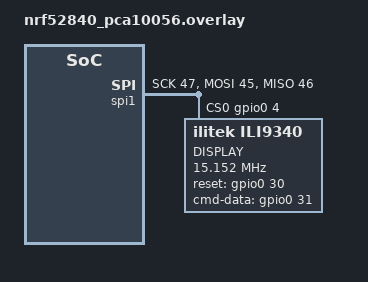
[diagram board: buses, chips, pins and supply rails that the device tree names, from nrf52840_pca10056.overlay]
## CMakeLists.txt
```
# SPDX-License-Identifier: Apache-2.0

cmake_minimum_required(VERSION 3.8.2)

include($ENV{ZEPHYR_BASE}/cmake/app/boilerplate.cmake NO_POLICY_SCOPE)
project(lvgl)

FILE(GLOB app_sources src/*.c)
target_sources(app PRIVATE ${app_sources})
```

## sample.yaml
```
sample:
  description: LVGL sample application
  name: lvgl
tests:
  sample.gui.lvgl:
    harness: display
    platform_whitelist: reel_board mimxrt1050_evk mimxrt1060_evk
    tags: samples display gui
  sample.display.adafruit_2_8_tft_touch_v2:
    platform_whitelist: nrf52840_pca10056
    extra_args: SHIELD=adafruit_2_8_tft_touch_v2
    tags: shield
  sample.display.waveshare_epaper_gdeh0213b1:
    platform_whitelist: nrf52840_pca10056
    extra_args: SHIELD=waveshare_epaper_gdeh0213b1
    tags: shield
  sample.display.waveshare_epaper_gdeh0213b72:
    platform_whitelist: nrf52840_pca10056
    extra_args: SHIELD=waveshare_epaper_gdeh0213b72
    tags: shield
  sample.display.waveshare_epaper_gdeh029a1:
    platform_whitelist: nrf52840_pca10056
    extra_args: SHIELD=waveshare_epaper_gdeh029a1
    tags: shield
```

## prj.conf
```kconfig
CONFIG_HEAP_MEM_POOL_SIZE=16384

CONFIG_DISPLAY=y
CONFIG_DISPLAY_LOG_LEVEL_ERR=y

CONFIG_LOG=y

CONFIG_LVGL=y
CONFIG_LVGL_OBJ_LABEL=y

CONFIG_SYS_TIMEOUT_LEGACY_API=n
```

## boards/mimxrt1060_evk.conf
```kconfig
#
# Copyright (c) 2019, NXP
#
# SPDX-License-Identifier: Apache-2.0
#

CONFIG_LVGL_DISPLAY_DEV_NAME="ELCDIF_1"
CONFIG_LVGL_HOR_RES=480
CONFIG_LVGL_VER_RES=272
CONFIG_LVGL_VDB_SIZE=16
CONFIG_LVGL_DPI=128
CONFIG_LVGL_BITS_PER_PIXEL=0
CONFIG_LVGL_COLOR_DEPTH_16=y

CONFIG_DISPLAY_LOG_LEVEL_DBG=y
```

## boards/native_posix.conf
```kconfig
CONFIG_SDL_DISPLAY=y
CONFIG_SDL_DISPLAY_X_RES=320
CONFIG_SDL_DISPLAY_Y_RES=240
```

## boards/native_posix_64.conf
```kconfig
CONFIG_SDL_DISPLAY=y
CONFIG_SDL_DISPLAY_DEV_NAME="DISPLAY"
CONFIG_SDL_DISPLAY_X_RES=320
CONFIG_SDL_DISPLAY_Y_RES=240
```

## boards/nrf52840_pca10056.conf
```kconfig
CONFIG_SPI=y
CONFIG_SPI_1=y
CONFIG_SPI_NRFX=y

CONFIG_ILI9340=y

CONFIG_LVGL_BITS_PER_PIXEL=24
```

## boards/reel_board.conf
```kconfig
CONFIG_SPI=y
CONFIG_SSD16XX=y

CONFIG_LVGL_COLOR_DEPTH_1=y
CONFIG_LVGL_BITS_PER_PIXEL=1
CONFIG_LVGL_HOR_RES=250
CONFIG_LVGL_VER_RES=120
CONFIG_LVGL_DPI=130
CONFIG_LVGL_VDB_SIZE=16
```

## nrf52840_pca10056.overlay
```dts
/*
 * Copyright (c) 2018 Jan Van Winkel <jan.van_winkel@dxplore.eu>
 * Copyright (c) 2019 O.S.Systems
 *
 * SPDX-License-Identifier: Apache-2.0
 */

&spi1 {
	status = "okay";
	sck-pin = <47>;
	mosi-pin = <45>;
	miso-pin = <46>;
	cs-gpios = <&gpio0 4 0>;

	ili9340@0 {
		compatible = "ilitek,ili9340";
		label = "DISPLAY";
		spi-max-frequency = <15151515>;
		reg = <0>;
		reset-gpios = <&gpio0 30 0>;
		cmd-data-gpios = <&gpio0 31 0>;
	};
};
```

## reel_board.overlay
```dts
/*
 * Copyright (c) 2018 Jan Van Winkel <jan.van_winkel@dxplore.eu>
 *
 * SPDX-License-Identifier: Apache-2.0
 */

&spi3 {
	ssd1673fb@0 {
		label = "DISPLAY";
	};
};
```

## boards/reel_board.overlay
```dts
/*
 * Copyright (c) 2018 Jan Van Winkel <jan.van_winkel@dxplore.eu>
 *
 * SPDX-License-Identifier: Apache-2.0
 */

&spi3 {
	ssd16xxfb@0 {
		label = "DISPLAY";
	};
};
```

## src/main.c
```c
/*
 * Copyright (c) 2018 Jan Van Winkel <jan.van_winkel@dxplore.eu>
 *
 * SPDX-License-Identifier: Apache-2.0
 */

#include <device.h>
#include <drivers/display.h>
#include <lvgl.h>
#include <stdio.h>
#include <string.h>
#include <zephyr.h>

#define LOG_LEVEL CONFIG_LOG_DEFAULT_LEVEL
#include <logging/log.h>
LOG_MODULE_REGISTER(app);

void main(void)
{
	u32_t count = 0U;
	char count_str[11] = {0};
	struct device *display_dev;
	lv_obj_t *hello_world_label;
	lv_obj_t *count_label;

	display_dev = device_get_by_prefix("DISPLAY", 0);

	if (display_dev == NULL) {
		LOG_ERR("device not found.  Aborting test.");
		return;
	}

	hello_world_label = lv_label_create(lv_scr_act(), NULL);
	lv_label_set_text(hello_world_label, "Hello world!");
	lv_obj_align(hello_world_label, NULL, LV_ALIGN_CENTER, 0, 0);

	count_label = lv_label_create(lv_scr_act(), NULL);
	lv_obj_align(count_label, NULL, LV_ALIGN_IN_BOTTOM_MID, 0, 0);

	display_blanking_off(display_dev);

	while (1) {
		if ((count % 100) == 0U) {
			sprintf(count_str, "%d", count/100U);
			lv_label_set_text(count_label, count_str);
		}
		lv_task_handler();
		k_sleep(K_MSEC(10));
		++count;
	}
}
```
